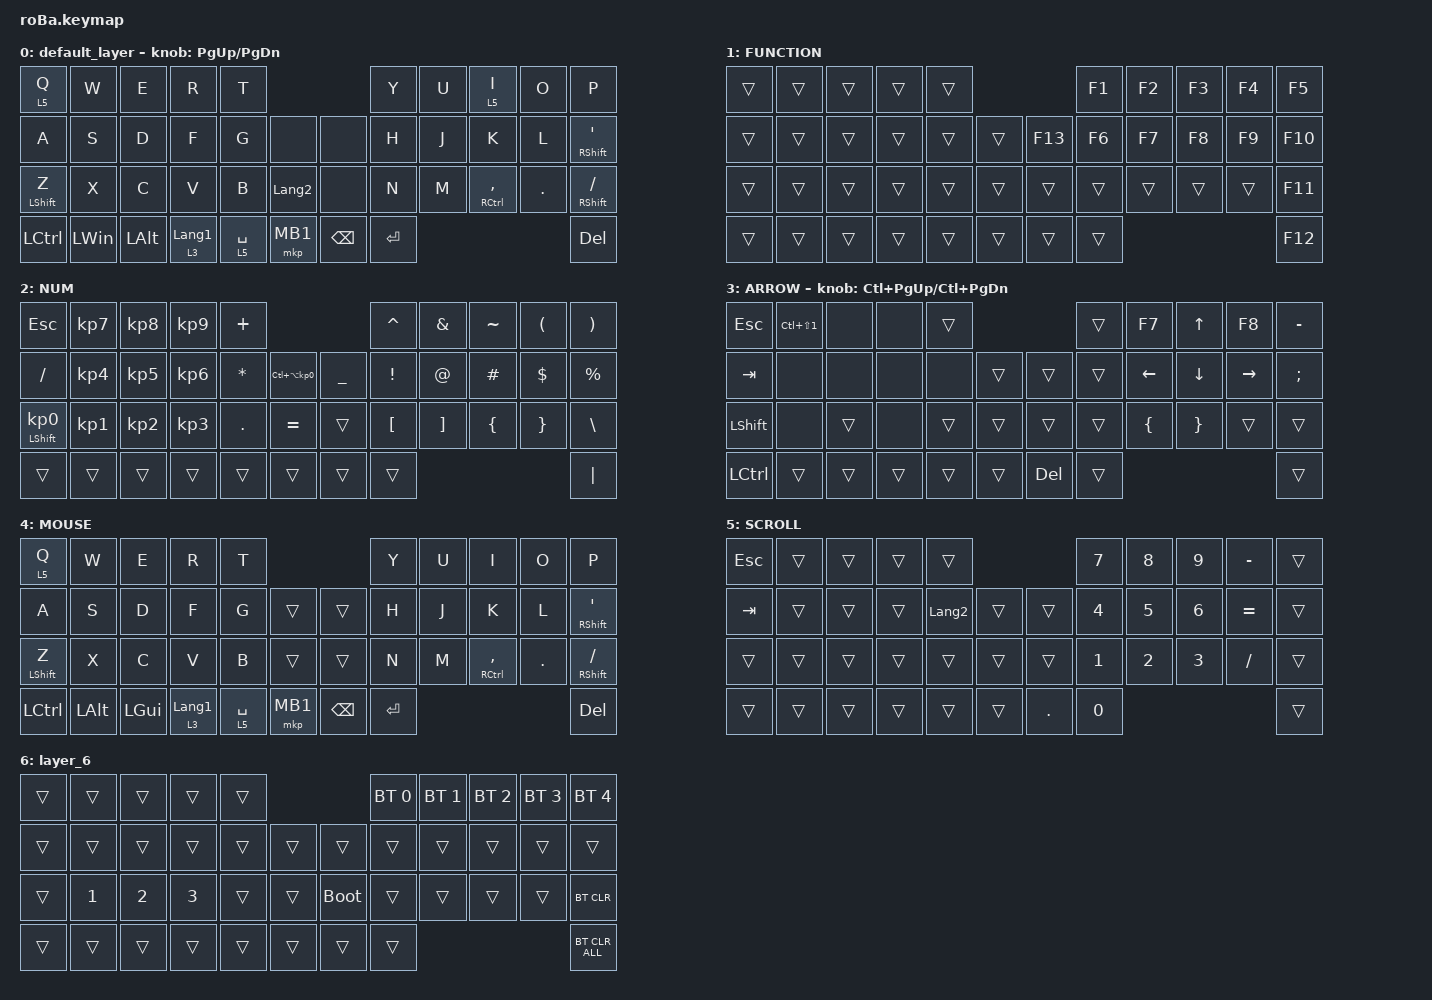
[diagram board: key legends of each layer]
#include <behaviors.dtsi>
#include <dt-bindings/zmk/bt.h>
#include <dt-bindings/zmk/keys.h>
#include <dt-bindings/zmk/pointing.h>

&mt {
    flavor = "balanced";
    quick-tap-ms = <0>;
};

&trackball {
    automouse-layer = <4>;
    scroll-layers = <5>;

    // arrows {
    //     layers = <3>;
    //     bindings =
    //         <&kp RIGHT_ARROW>,
    //         <&kp LEFT_ARROW>,
    //         <&kp UP_ARROW>,
    //         <&kp DOWN_ARROW>;
    //     tick = <10>;
    //     wait-ms = <5>;
    //     tap-ms = <5>;
    // };
};

/ {
    combos {
        compatible = "zmk,combos";

        tab {
            bindings = <&kp TAB>;
            key-positions = <11 12>;
        };

        shift_tab {
            bindings = <&kp LANGUAGE_2>;
            key-positions = <12 13>;
        };

        muhennkann {
            bindings = <&kp LANGUAGE_1>;
            key-positions = <18 19>;
        };

        double_quotation {
            bindings = <&kp LG(SPACE)>;
            key-positions = <20 19>;
        };

        copy {
            bindings = <&kp LC(C)>;
            key-positions = <24 25>;
        };

        paste {
            bindings = <&kp RC(V)>;
            key-positions = <30 31>;
        };
    };

    macros {
        to_layer_0: to_layer_0 {
            compatible = "zmk,behavior-macro-one-param";
            #binding-cells = <1>;
            bindings = <&to 0 &macro_param_1to1 &kp MACRO_PLACEHOLDER>;
            label = "TO_LAYER_0";
        };
    };

    behaviors {
        lt_to_layer_0: lt_to_layer_0 {
            compatible = "zmk,behavior-hold-tap";
            label = "LAYER_TAP_TO_0";
            bindings = <&mo>, <&to_layer_0>;

            #binding-cells = <2>;
            tapping-term-ms = <200>;
        };
    };

    keymap {
        compatible = "zmk,keymap";

        default_layer {
            bindings = <
&lt 5 Q           &kp W         &kp E         &kp R             &kp T                                           &kp Y      &kp U  &lt 5 I          &kp O    &kp P
&kp A             &kp S         &kp D         &kp F             &kp G        &none               &none          &kp H      &kp J  &kp K            &kp L    &mt RIGHT_SHIFT APOS
&mt LEFT_SHIFT Z  &kp X         &kp C         &kp V             &kp B        &kp LANGUAGE_2      &none          &kp N      &kp M  &mt RCTRL COMMA  &kp DOT  &mt RIGHT_SHIFT SLASH
&kp LCTRL         &kp LEFT_WIN  &kp LEFT_ALT  &lt 3 LANGUAGE_1  &lt 5 SPACE  &mkp MB1            &kp BACKSPACE  &kp ENTER                                   &kp DEL
            >;

            sensor-bindings = <&inc_dec_kp PG_UP PAGE_DOWN>;
        };

        FUNCTION {
            bindings = <
&trans  &trans  &trans  &trans  &trans                       &kp F1  &kp F2  &kp F3  &kp F4  &kp F5
&trans  &trans  &trans  &trans  &trans  &trans      &kp F13  &kp F6  &kp F7  &kp F8  &kp F9  &kp F10
&trans  &trans  &trans  &trans  &trans  &trans      &trans   &trans  &trans  &trans  &trans  &kp F11
&trans  &trans  &trans  &trans  &trans  &trans      &trans   &trans                          &kp F12
            >;
        };

        NUM {
            bindings = <
&kp ESCAPE                  &kp KP_NUMBER_7  &kp KP_NUMBER_8  &kp KP_NUMBER_9  &kp PLUS                                                   &kp CARET         &kp AMPERSAND      &kp TILDE       &kp LEFT_PARENTHESIS  &kp RIGHT_PARENTHESIS
&kp SLASH                   &kp KP_NUMBER_4  &kp KP_NUMBER_5  &kp KP_NUMBER_6  &kp ASTERISK  &kp LC(LA(KP_NUMBER_0))      &kp UNDERSCORE  &kp EXCLAMATION   &kp AT_SIGN        &kp HASH        &kp DOLLAR            &kp PERCENT
&mt LEFT_SHIFT KP_NUMBER_0  &kp KP_NUMBER_1  &kp KP_NUMBER_2  &kp KP_NUMBER_3  &kp PERIOD    &kp EQUAL                    &trans          &kp LEFT_BRACKET  &kp RIGHT_BRACKET  &kp LEFT_BRACE  &kp RIGHT_BRACE       &kp BACKSLASH
&trans                      &trans           &trans           &trans           &trans        &trans                       &trans          &trans                                                                     &kp PIPE
            >;
        };

        ARROW {
            bindings = <
&kp ESCAPE      &kp LC(LS(NUMBER_1))  &none   &none   &trans                       &trans  &kp F7          &kp UP_ARROW     &kp F8     &kp MINUS
&kp TAB         &none                 &none   &none   &none   &trans      &trans   &trans  &kp LEFT        &kp DOWN         &kp RIGHT  &kp SEMI
&kp LEFT_SHIFT  &none                 &trans  &none   &trans  &trans      &trans   &trans  &kp LEFT_BRACE  &kp RIGHT_BRACE  &trans     &trans
&kp LCTRL       &trans                &trans  &trans  &trans  &trans      &kp DEL  &trans                                              &trans
            >;

            sensor-bindings = <&inc_dec_kp LC(PAGE_UP) LC(PAGE_DOWN)>;
        };

        MOUSE {
            bindings = <
&lt 5 Q           &kp W         &kp E         &kp R             &kp T                                     &kp Y    &kp U  &kp I            &kp O       &kp P
&kp A             &kp S         &kp D         &kp F             &kp G        &trans        &trans         &kp H    &kp J  &kp K            &kp L       &mt RIGHT_SHIFT APOS
&mt LEFT_SHIFT Z  &kp X         &kp C         &kp V             &kp B        &trans        &trans         &kp N    &kp M  &mt RCTRL COMMA  &kp PERIOD  &mt RIGHT_SHIFT SLASH
&kp LCTRL         &kp LEFT_ALT  &kp LEFT_GUI  &lt 3 LANGUAGE_1  &lt 5 SPACE  &mkp MB1      &kp BACKSPACE  &kp RET                                      &kp DEL
            >;
        };

        SCROLL {
            bindings = <
&kp ESCAPE  &trans  &trans  &trans  &trans                                  &kp N7        &kp N8        &kp N9        &kp MINUS  &trans
&kp TAB     &trans  &trans  &trans  &kp LANGUAGE_2  &trans      &trans      &kp NUMBER_4  &kp N5        &kp NUMBER_6  &kp EQUAL  &trans
&trans      &trans  &trans  &trans  &trans          &trans      &trans      &kp NUMBER_1  &kp NUMBER_2  &kp NUMBER_3  &kp SLASH  &trans
&trans      &trans  &trans  &trans  &trans          &trans      &kp PERIOD  &kp N0                                               &trans
            >;
        };

        layer_6 {
            bindings = <
&trans  &trans        &trans        &trans        &trans                           &bt BT_SEL 0  &bt BT_SEL 1  &bt BT_SEL 2  &bt BT_SEL 3  &bt BT_SEL 4
&trans  &trans        &trans        &trans        &trans  &trans      &trans       &trans        &trans        &trans        &trans        &trans
&trans  &kp NUMBER_1  &kp NUMBER_2  &kp NUMBER_3  &trans  &trans      &bootloader  &trans        &trans        &trans        &trans        &bt BT_CLR
&trans  &trans        &trans        &trans        &trans  &trans      &trans       &trans                                                  &bt BT_CLR_ALL
            >;
        };
    };
};
